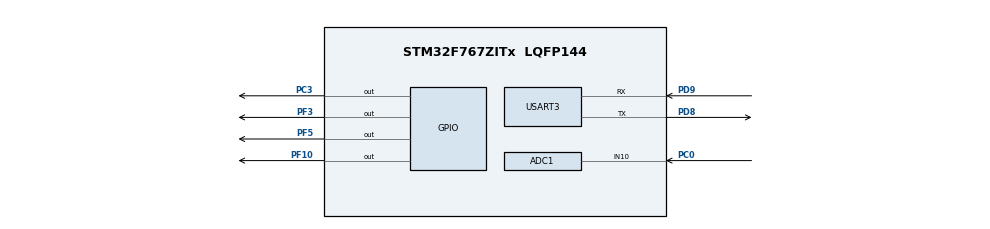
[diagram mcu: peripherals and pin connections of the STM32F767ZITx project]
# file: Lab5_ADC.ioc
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ADC1.Channel-0\#ChannelRegularConversion=ADC_CHANNEL_10
ADC1.ContinuousConvMode=ENABLE
ADC1.EOCSelection=ADC_EOC_SEQ_CONV
ADC1.NbrOfConversionFlag=1
ADC1.Rank-0\#ChannelRegularConversion=1
ADC1.SamplingTime-0\#ChannelRegularConversion=ADC_SAMPLETIME_3CYCLES
ADC1.master=1
CORTEX_M7.default_mode_Activation=1
Mcu.Family=STM32F7
Mcu.Name=STM32F767ZITx
Mcu.Package=LQFP144
NVIC.PriorityGroup=NVIC_PRIORITYGROUP_4
PC0.Signal=ADCx_IN10
PC3.Signal=GPIO_Output
PD8.Mode=Asynchronous
PD8.Signal=USART3_TX
PD9.Mode=Asynchronous
PD9.Signal=USART3_RX
PF10.Signal=GPIO_Output
PF3.Signal=GPIO_Output
PF5.Signal=GPIO_Output
ProjectManager.HeapSize=0x200
ProjectManager.StackSize=0x400
ProjectManager.TargetToolchain=STM32CubeIDE
RCC.HSE_VALUE=25000000
RCC.HSI_VALUE=16000000
RCC.LSE_VALUE=32768
RCC.USBFreq_Value=96000000
RCC.VCOOutputFreq_Value=192000000
SH.ADCx_IN10.0=ADC1_IN10,IN10
USART3.VirtualMode-Asynchronous=VM_ASYNC
board=custom

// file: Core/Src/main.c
/* USER CODE BEGIN Header */
/**
  ******************************************************************************
  * @file           : main.c
  * @brief          : Main program body
  ******************************************************************************
  * @attention
  *
  * Copyright (c) 2026 STMicroelectronics.
  * All rights reserved.
  *
  * This software is licensed under terms that can be found in the LICENSE file
  * in the root directory of this software component.
  * If no LICENSE file comes with this software, it is provided AS-IS.
  *
  ******************************************************************************
  */
/* USER CODE END Header */
#include "main.h"
#include "adc.h"
#include "usart.h"
#include "gpio.h"

/* USER CODE BEGIN Includes */
#include <stdio.h>
#include <string.h>
/* USER CODE END Includes */

/* USER CODE BEGIN PV */
uint32_t adc_val = 0;
uint32_t adc_avg_8 = 0;
uint32_t adc_avg_16 = 0;
/* USER CODE END PV */

void SystemClock_Config(void);
static void MPU_Config(void);
/* USER CODE BEGIN PFP */

void displayHEX(uint32_t val, uint32_t channel, float voltage);
int average_8(int x);
int average_16(int x);
/* USER CODE END PFP */

int main(void)
{

  /* MPU Configuration--------------------------------------------------------*/
  MPU_Config();

  /* MCU Configuration--------------------------------------------------------*/

  /* Reset of all peripherals, Initializes the Flash interface and the Systick. */
  HAL_Init();

  /* Configure the system clock */
  SystemClock_Config();

  /* Initialize all configured peripherals */
  MX_GPIO_Init();
  MX_USART3_UART_Init();
  MX_ADC1_Init();
  /* USER CODE BEGIN 2 */
  HAL_ADC_Start(&hadc1);
  /* USER CODE END 2 */

  /* Infinite loop */
  while (1)
  {
	    while (HAL_ADC_PollForConversion(&hadc1, 100) != HAL_OK) {}
	    adc_val = HAL_ADC_GetValue(&hadc1);
	    adc_avg_8  = average_8(adc_val);
	    adc_avg_16 = average_16(adc_val);

	    float voltage = (adc_val * 3.3f) / 4095.0f;
	    displayHEX(adc_val, 10, voltage);

	    if (adc_val < 819)               // range 1
	    {
	        HAL_GPIO_WritePin(GPIOC, GPIO_PIN_3, GPIO_PIN_RESET);
	        HAL_GPIO_WritePin(GPIOF, GPIO_PIN_3, GPIO_PIN_RESET);
	        HAL_GPIO_WritePin(GPIOF, GPIO_PIN_5, GPIO_PIN_RESET);
	        HAL_GPIO_WritePin(GPIOF, GPIO_PIN_10, GPIO_PIN_RESET);
	    }
	    else if (adc_val < 1638)         // range 2
	    {
	        HAL_GPIO_WritePin(GPIOC, GPIO_PIN_3, GPIO_PIN_SET);
	        HAL_GPIO_WritePin(GPIOF, GPIO_PIN_3, GPIO_PIN_RESET);
	        HAL_GPIO_WritePin(GPIOF, GPIO_PIN_5, GPIO_PIN_RESET);
	        HAL_GPIO_WritePin(GPIOF, GPIO_PIN_10, GPIO_PIN_RESET);
	    }
	    else if (adc_val < 2457)         // range 3
	    {
	        HAL_GPIO_WritePin(GPIOC, GPIO_PIN_3, GPIO_PIN_SET);
	        HAL_GPIO_WritePin(GPIOF, GPIO_PIN_3, GPIO_PIN_SET);
	        HAL_GPIO_WritePin(GPIOF, GPIO_PIN_5, GPIO_PIN_RESET);
	        HAL_GPIO_WritePin(GPIOF, GPIO_PIN_10, GPIO_PIN_RESET);
	    }
	    else if (adc_val < 3276)         // range 4
	    {
	        HAL_GPIO_WritePin(GPIOC, GPIO_PIN_3, GPIO_PIN_SET);
	        HAL_GPIO_WritePin(GPIOF, GPIO_PIN_3, GPIO_PIN_SET);
	        HAL_GPIO_WritePin(GPIOF, GPIO_PIN_5, GPIO_PIN_SET);
	        HAL_GPIO_WritePin(GPIOF, GPIO_PIN_10, GPIO_PIN_RESET);
	    }
	    else                              // range 5
	    {
	        HAL_GPIO_WritePin(GPIOC, GPIO_PIN_3, GPIO_PIN_SET);
	        HAL_GPIO_WritePin(GPIOF, GPIO_PIN_3, GPIO_PIN_SET);
	        HAL_GPIO_WritePin(GPIOF, GPIO_PIN_5, GPIO_PIN_SET);
	        HAL_GPIO_WritePin(GPIOF, GPIO_PIN_10, GPIO_PIN_SET);
	    }

	    HAL_Delay(400);
  }
}

void SystemClock_Config(void)
{
  RCC_OscInitTypeDef RCC_OscInitStruct = {0};
  RCC_ClkInitTypeDef RCC_ClkInitStruct = {0};

  /** Configure the main internal regulator output voltage
  */
  __HAL_RCC_PWR_CLK_ENABLE();
  __HAL_PWR_VOLTAGESCALING_CONFIG(PWR_REGULATOR_VOLTAGE_SCALE3);

  /** Initializes the RCC Oscillators according to the specified parameters
  * in the RCC_OscInitTypeDef structure.
  */
  RCC_OscInitStruct.OscillatorType = RCC_OSCILLATORTYPE_HSI;
  RCC_OscInitStruct.HSIState = RCC_HSI_ON;
  RCC_OscInitStruct.HSICalibrationValue = RCC_HSICALIBRATION_DEFAULT;
  RCC_OscInitStruct.PLL.PLLState = RCC_PLL_NONE;
  if (HAL_RCC_OscConfig(&RCC_OscInitStruct) != HAL_OK)
  {
    Error_Handler();
  }

  /** Initializes the CPU, AHB and APB buses clocks
  */
  RCC_ClkInitStruct.ClockType = RCC_CLOCKTYPE_HCLK|RCC_CLOCKTYPE_SYSCLK
                              |RCC_CLOCKTYPE_PCLK1|RCC_CLOCKTYPE_PCLK2;
  RCC_ClkInitStruct.SYSCLKSource = RCC_SYSCLKSOURCE_HSI;
  RCC_ClkInitStruct.AHBCLKDivider = RCC_SYSCLK_DIV1;
  RCC_ClkInitStruct.APB1CLKDivider = RCC_HCLK_DIV1;
  RCC_ClkInitStruct.APB2CLKDivider = RCC_HCLK_DIV1;

  if (HAL_RCC_ClockConfig(&RCC_ClkInitStruct, FLASH_LATENCY_0) != HAL_OK)
  {
    Error_Handler();
  }
}

/* USER CODE BEGIN 4 */
void displayHEX(uint32_t val, uint32_t channel, float voltage)
{
  char buf[64];
  sprintf(buf, "ADC1_CH%lu 0x%08lX Vin = %.2f V\r\n", channel, val, voltage);
  HAL_UART_Transmit(&huart3, (uint8_t *)buf, strlen(buf), 100);
}

int average_8(int x)
{
    static int samples[8];
    static int i = 0;
    static int total = 0;

    total += x - samples[i];
    samples[i] = x;
    i = (i == 7 ? 0 : i + 1);

    return total >> 3;
}

int average_16(int x)
{
    static int samples[16];
    static int i = 0;
    static int total = 0;

    total += x - samples[i];
    samples[i] = x;
    i = (i == 15 ? 0 : i + 1);

    return total >> 4;
}
/* USER CODE END 4 */

 /* MPU Configuration */

void MPU_Config(void)
{
  MPU_Region_InitTypeDef MPU_InitStruct = {0};

  /* Disables the MPU */
  HAL_MPU_Disable();

  /** Initializes and configures the Region and the memory to be protected
  */
  MPU_InitStruct.Enable = MPU_REGION_ENABLE;
  MPU_InitStruct.Number = MPU_REGION_NUMBER0;
  MPU_InitStruct.BaseAddress = 0x0;
  MPU_InitStruct.Size = MPU_REGION_SIZE_4GB;
  MPU_InitStruct.SubRegionDisable = 0x87;
  MPU_InitStruct.TypeExtField = MPU_TEX_LEVEL0;
  MPU_InitStruct.AccessPermission = MPU_REGION_NO_ACCESS;
  MPU_InitStruct.DisableExec = MPU_INSTRUCTION_ACCESS_DISABLE;
  MPU_InitStruct.IsShareable = MPU_ACCESS_SHAREABLE;
  MPU_InitStruct.IsCacheable = MPU_ACCESS_NOT_CACHEABLE;
  MPU_InitStruct.IsBufferable = MPU_ACCESS_NOT_BUFFERABLE;

  HAL_MPU_ConfigRegion(&MPU_InitStruct);
  /* Enables the MPU */
  HAL_MPU_Enable(MPU_PRIVILEGED_DEFAULT);

}

void Error_Handler(void)
{
  __disable_irq();
  while (1)
  {
  }
}
